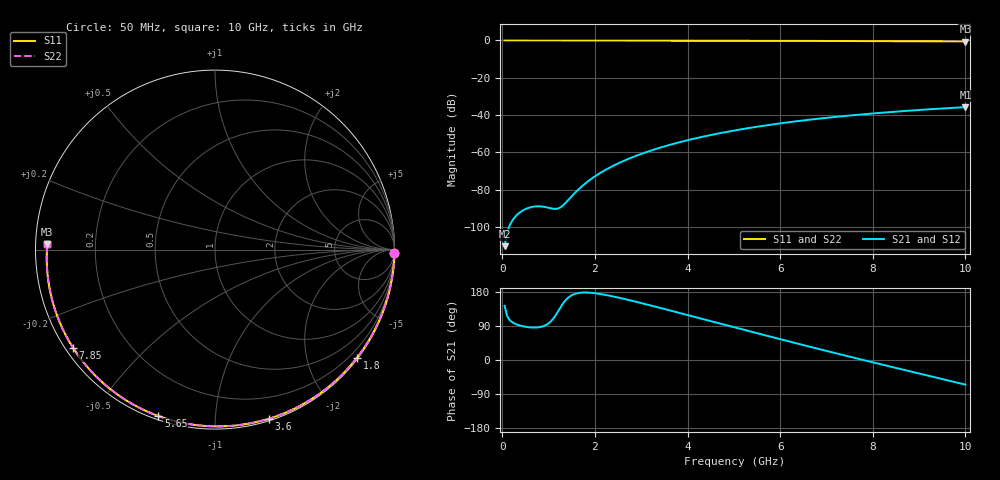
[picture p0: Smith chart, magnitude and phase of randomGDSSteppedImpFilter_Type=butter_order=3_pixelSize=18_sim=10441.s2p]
! freq	dB(S11)	phase(S11)	dB(S12)	phase(S12)
!  dB(S21)	phase(S21)	dB(S22)	phase(S22)
!S-par simulation data
#  GHz  S  DB  R 50
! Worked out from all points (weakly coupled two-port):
!   200 points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, 50 MHz to 10 GHz, reference 50 ohm
!   highest |S21| = -35.75 dB at 10 GHz (marker M1); lowest = -110.3 dB at 50 MHz (marker M2)
!   lowest |S11| = -0.6 dB at 10 GHz (marker M3), VSWR 29.75, Z = 1.68 + j0.799 ohm
!   |S11| at or under -10 dB: nowhere
!   |S22| runs from -0.6 to 0.0 dB; largest |S21 - S12| = 0
!   S11 on the Smith chart (normalised r, x): 50 MHz: open; 1.8 GHz: 0.03, -2.96; 3.6 GHz: 0.02, -1.37; 5.65 GHz: 0.02, -0.72; 7.85 GHz: 0.02, -0.31; 10 GHz: 0.03, +0.02
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0.05  -0.00 -1.1  -110.31 143.2  -110.31 143.2  -0.00 -1.1
0.4  -0.01 -8.5  -91.83 90.3  -91.83 90.3  -0.01 -8.5
0.8  -0.02 -16.8  -88.95 86.6  -88.95 86.6  -0.02 -16.8
1.6  -0.04 -33.3  -80.95 175.6  -80.95 175.6  -0.04 -33.3
1.65  -0.04 -34.3  -79.75 176.9  -79.75 176.9  -0.04 -34.3
1.75  -0.05 -36.3  -77.54 178.0  -77.54 178.0  -0.05 -36.3
1.8  -0.05 -37.3  -76.52 178.1  -76.52 178.1  -0.05 -37.3
2.1  -0.06 -43.4  -71.27 174.5  -71.27 174.5  -0.06 -43.4
2.45  -0.06 -50.3  -66.53 166.2  -66.53 166.2  -0.06 -50.3
2.9  -0.08 -59.1  -61.74 153.3  -61.74 153.3  -0.08 -59.1
3.4  -0.09 -68.6  -57.53 137.8  -57.53 137.8  -0.09 -68.6
3.6  -0.10 -72.3  -56.08 131.4  -56.08 131.4  -0.10 -72.3
4.3  -0.12 -85.2  -51.77 109.0  -51.77 109.0  -0.12 -85.2
5.05  -0.15 -98.4  -48.11 85.0  -48.11 85.0  -0.15 -98.4
5.65  -0.18 -108.8  -45.70 66.0  -45.70 66.0  -0.18 -108.8
6.15  -0.21 -117.2  -43.97 50.3  -43.97 50.3  -0.21 -117.2
6.7  -0.25 -126.4  -42.30 33.2  -42.30 33.2  -0.25 -126.4
7.3  -0.29 -136.3  -40.73 14.9  -40.73 14.9  -0.29 -136.3
7.85  -0.34 -145.3  -39.47 -1.7  -39.47 -1.7  -0.34 -145.3
8.35  -0.39 -153.6  -38.45 -16.5  -38.45 -16.5  -0.39 -153.6
9.2  -0.48 -167.9  -36.94 -41.5  -36.94 -41.5  -0.48 -167.9
10  -0.58 178.2  -35.75 -64.9  -35.75 -64.9  -0.58 178.2
